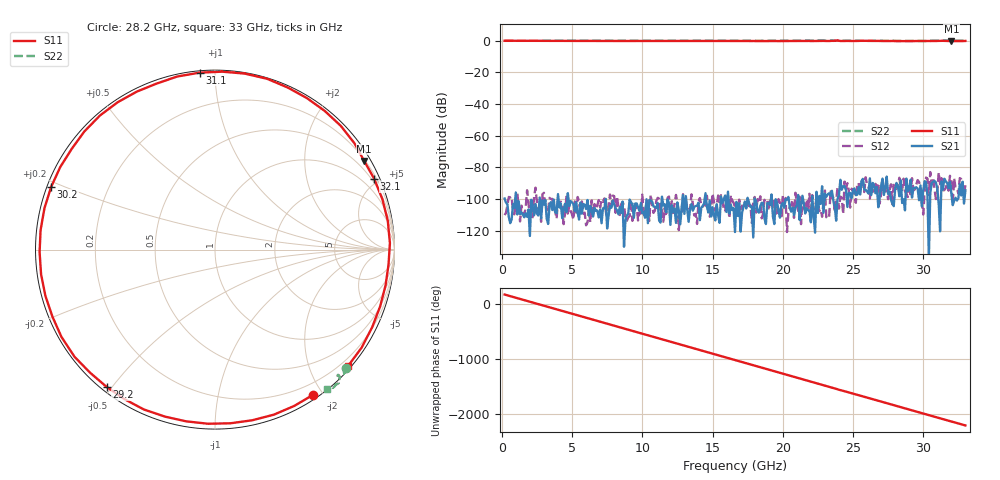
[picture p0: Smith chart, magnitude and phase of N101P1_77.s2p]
# GHZ S RI R 50
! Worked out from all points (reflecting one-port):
!   329 points, 200 MHz to 33 GHz, reference 50 ohm
!   lowest |S11| = -0.3 dB at 32 GHz (marker M1), VSWR 59.06, Z = 12 + j181 ohm
!   phase of S11 starts at 165 deg and turns -2367 deg over the sweep
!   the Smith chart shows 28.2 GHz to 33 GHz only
!   S11 on the Smith chart (normalised r, x): 28.2 GHz: 0.05, -1.88; 29.2 GHz: 0.02, -0.48; 30.2 GHz: 0.01, +0.18; 31.1 GHz: 0.01, +0.92; 32.1 GHz: 0.34, +4.68; 33 GHz: 0.06, -2.65
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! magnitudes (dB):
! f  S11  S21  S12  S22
! 200 MHz  0.0  -99.7  -110.2  0.0
! 5.7 GHz  -0.1  -109.1  -101.5  0.0
! 8.9 GHz  -0.2  -110.4  -113.8  0.0
! 11.2 GHz  -0.1  -113.6  -99.8  -0.1
! 16.6 GHz  -0.1  -120.9  -104.9  0.0
! 22.1 GHz  -0.2  -98.2  -97.5  0.0
! 22.6 GHz  -0.1  -98.0  -107.6  0.2
! 23 GHz  -0.1  -96.6  -94.7  0.0
! 23.3 GHz  -0.2  -96.4  -111.9  0.1
! 23.9 GHz  0.1  -99.9  -92.7  0.2
! 24.1 GHz  -0.2  -87.9  -98.5  0.0
! 24.9 GHz  -0.2  -99.5  -93.4  0.0
! 25.5 GHz  0.0  -97.1  -97.7  0.0
! 27.6 GHz  -0.2  -95.2  -94.9  -0.1
! 28.2 GHz  -0.2  -92.1  -90.9  -0.1
! 29.2 GHz  -0.2  -99.1  -86.9  -0.1
! 30.2 GHz  -0.2  -89.3  -86.4  -0.2
! 31.1 GHz  -0.1  -102.9  -83.3  0.0
! 31.4 GHz  0.0  -94.1  -94.5  0.1
! 32 GHz  -0.3  -96.6  -88.4  0.0
! 32.1 GHz  -0.3  -103.9  -103.3  0.0
! 33 GHz  -0.1  -94.5  -91.3  -0.1
